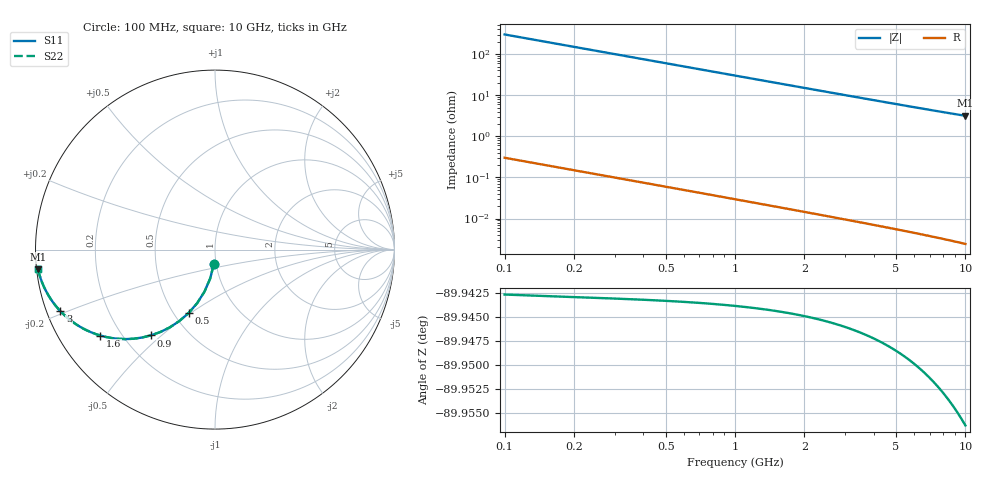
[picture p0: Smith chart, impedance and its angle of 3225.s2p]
# Hz S RI R 50.00
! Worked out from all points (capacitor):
!   100 points, 100 MHz to 10 GHz, reference 50 ohm
!   read as one part in shunt: C = 5.29 pF near 100 MHz
!   lowest |Z| = 3.16 ohm at 10 GHz (marker M1)
!   S11 on the Smith chart (normalised r, x): 100 MHz: 0.97, -0.16; 500 MHz: 0.59, -0.49; 900 MHz: 0.31, -0.46; 1.6 GHz: 0.12, -0.33; 3 GHz: 0.04, -0.19; 10 GHz: 0.00, -0.06
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1e8  -0.0069 -0.0824  0.993 -0.0825  0.993 -0.0825  -0.0069 -0.0824
2e8  -0.027 -0.1615  0.973 -0.1617  0.973 -0.1617  -0.027 -0.1615
3e8  -0.0586 -0.2343  0.9413 -0.2347  0.9413 -0.2347  -0.0586 -0.2343
4e8  -0.0996 -0.2987  0.9003 -0.2993  0.9003 -0.2993  -0.0996 -0.2987
5e8  -0.1473 -0.3536  0.8526 -0.3543  0.8526 -0.3543  -0.1473 -0.3536
6e8  -0.1991 -0.3984  0.8008 -0.3993  0.8008 -0.3993  -0.1991 -0.3984
7e8  -0.2528 -0.4336  0.7472 -0.4346  0.7472 -0.4346  -0.2528 -0.4336
9e8  -0.3585 -0.4784  0.6415 -0.4797  0.6415 -0.4797  -0.3585 -0.4784
1.2e9  -0.4982 -0.4987  0.5018 -0.5003  0.5018 -0.5003  -0.4982 -0.4987
1.4e9  -0.5746 -0.4929  0.4254 -0.4949  0.4254 -0.4949  -0.5746 -0.4929
1.6e9  -0.6381 -0.4789  0.3618 -0.4811  0.3618 -0.4811  -0.6381 -0.4789
1.8e9  -0.6905 -0.4605  0.3094 -0.463  0.3094 -0.463  -0.6905 -0.4605
2e9  -0.7336 -0.4402  0.2663 -0.443  0.2663 -0.443  -0.7336 -0.4402
2.3e9  -0.7845 -0.409  0.2154 -0.4123  0.2154 -0.4123  -0.7845 -0.409
2.6e9  -0.823 -0.3793  0.1769 -0.383  0.1769 -0.383  -0.823 -0.3793
3e9  -0.8609 -0.3434  0.139 -0.3476  0.139 -0.3476  -0.8609 -0.3434
3.4e9  -0.8882 -0.3121  0.1117 -0.3169  0.1117 -0.3169  -0.8882 -0.3121
4.2e9  -0.9238 -0.2618  0.0761 -0.2677  0.0761 -0.2677  -0.9238 -0.2618
5.1e9  -0.947 -0.2197  0.0529 -0.227  0.0529 -0.227  -0.947 -0.2197
6.7e9  -0.9687 -0.1688  0.0312 -0.1783  0.0312 -0.1783  -0.9687 -0.1688
8.4e9  -0.9799 -0.1335  0.02 -0.1456  0.02 -0.1456  -0.9799 -0.1335
1e10  -0.9858 -0.1101  0.014 -0.1247  0.014 -0.1247  -0.9858 -0.1101
